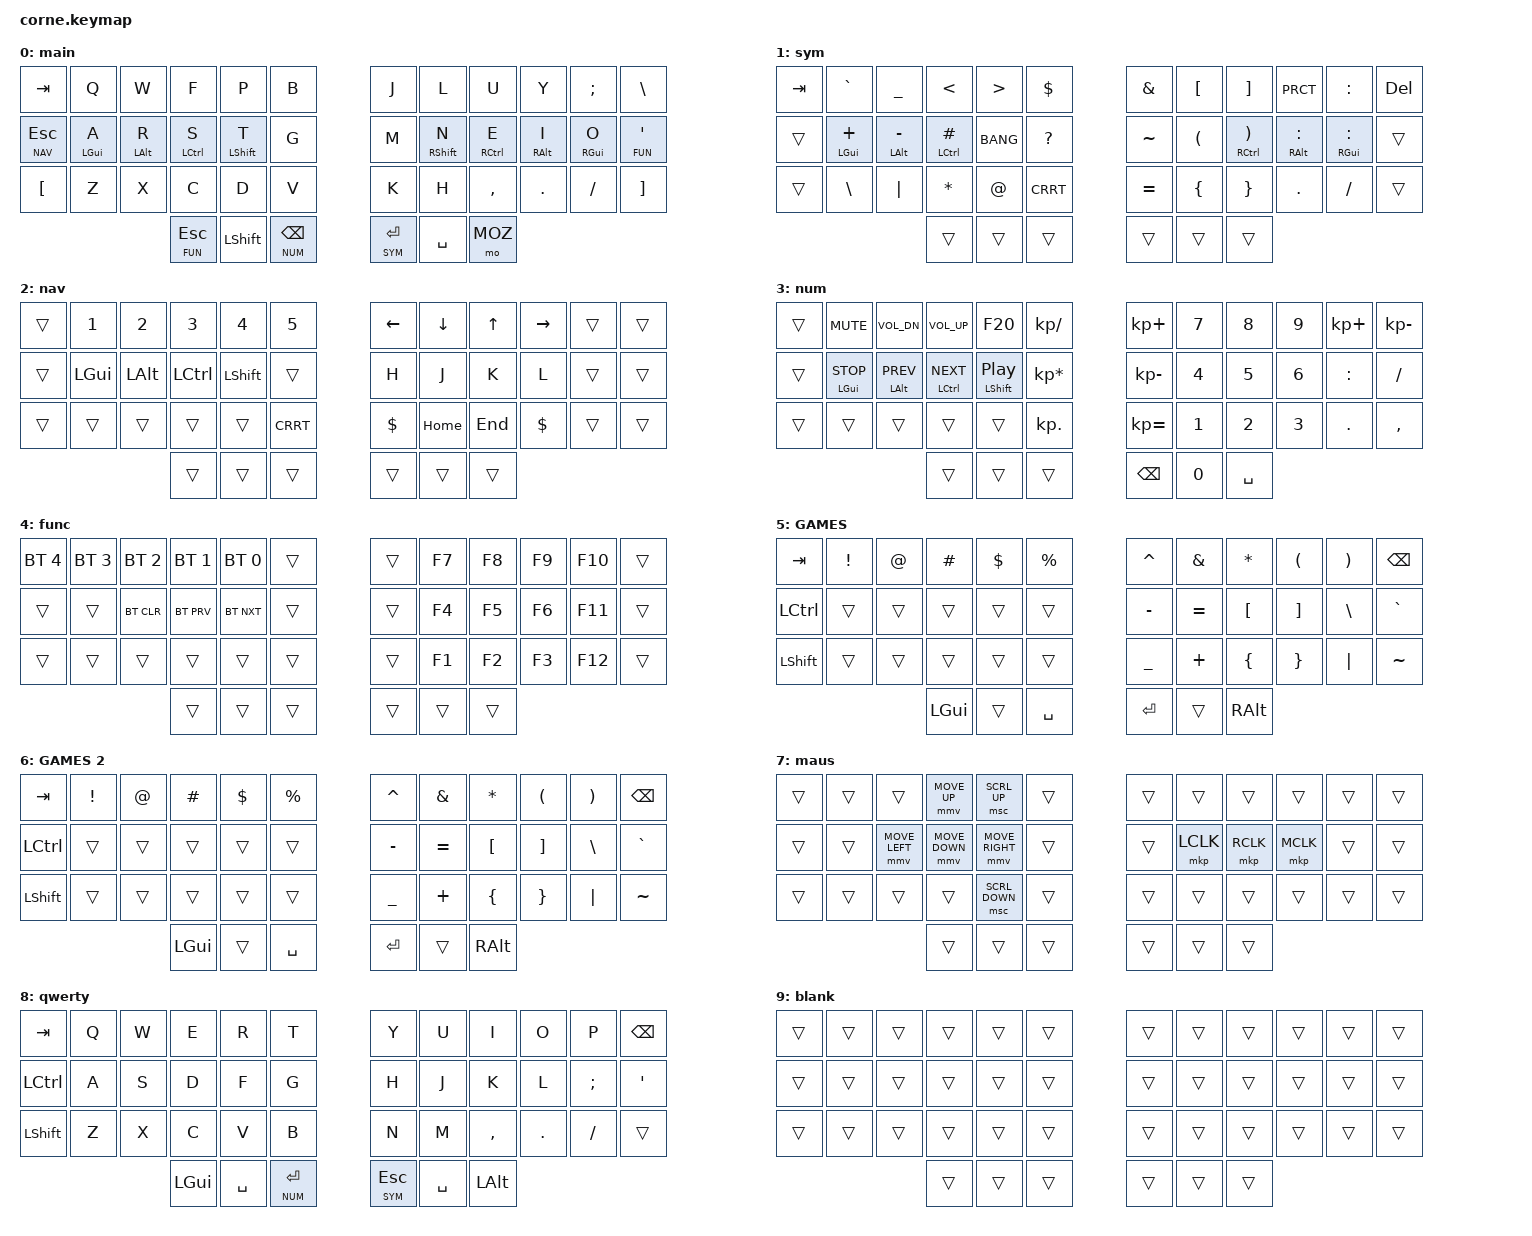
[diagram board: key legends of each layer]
/*
 * Copyright (c) 2020 The ZMK Contributors
 *
 * SPDX-License-Identifier: MIT
 */

// key codes from
// https://github.com/zmkfirmware/zmk/blob/main/app/include/dt-bindings/zmk/keys.h

#include <behaviors.dtsi>
#include <dt-bindings/zmk/keys.h>
#include <dt-bindings/zmk/bt.h>

#include "zmk-helpers/helper.h"
#include "zmk-helpers/key-labels/42.h"                                                  // Source key-labels.
#define KEYS_L LT0 LT1 LT2 LT3 LT4 LT5 LM0 LM1 LM2 LM3 LM4 LM5 LB0 LB1 LB2 LB3 LB4 LB5  // Left-hand keys.
#define KEYS_R RT0 RT1 RT2 RT3 RT4 RT5 RM0 RM1 RM2 RM3 RM4 RM5 RB0 RB1 RB2 RB3 RB4 RB5  // Right-hand keys.
#define THUMBS LH2 LH1 LH0 RH0 RH1 RH2                                                  // Thumb keys.

// These override the MAX velocities
#define ZMK_POINTING_DEFAULT_MOVE_VAL 1500 // default: 600
#define ZMK_POINTING_DEFAULT_SCRL_VAL 20 // default: 10

#include <dt-bindings/zmk/pointing.h>

#define MAIN    0
#define SYM     1
#define NAV     2
#define NUM     3
#define FUN     4
#define GM1     5
#define GM2     6
#define MOZ     7
#define QWRT    8

/ {

    behaviors {
        // from https://zmk.dev/docs/keymaps/behaviors/hold-tap#option-2-tap-preferred
        hm: homerow_mods {
            compatible = "zmk,behavior-hold-tap";
            #binding-cells = <2>;
            tapping-term-ms = <150>;
            quick-tap-ms = <0>;
            flavor = "tap-preferred";
            bindings = <&kp>, <&kp>;
        };

         bhm: balanced_homerow_mods {
            compatible = "zmk,behavior-hold-tap";
            #binding-cells = <2>;
            tapping-term-ms = <180>;    // <---[[moderate duration]]
            flavor = "balanced";
            bindings = <&kp>, <&kp>;
        };   

        // timeless homerow mods
        // https://v0-3-branch.zmk.dev/docs/keymaps/behaviors/hold-tap?examples=home_row_mods
        // https://github.com/urob/zmk-config#timeless-homerow-mods
        // home row mod to use on the left hand
        hml: home_row_mod_left {
            compatible = "zmk,behavior-hold-tap";
            #binding-cells = <2>;
            flavor = "balanced";
            require-prior-idle-ms = <150>;
            tapping-term-ms = <280>;
            quick-tap-ms = <175>;
            bindings = <&kp>, <&kp>;
            hold-trigger-key-positions = < KEYS_R THUMBS >; // List of keys on the right side of the keyboard
            hold-trigger-on-release;
        };

        // home row mod to use on the right hand
        hmr: home_row_mod_right {
            compatible = "zmk,behavior-hold-tap";
            #binding-cells = <2>;
            flavor = "balanced";
            require-prior-idle-ms = <150>;
            tapping-term-ms = <280>;
            quick-tap-ms = <175>;
            bindings = <&kp>, <&kp>;
            hold-trigger-key-positions = < KEYS_L THUMBS >; // List of keys on the left side of the keyboard
            hold-trigger-on-release;
        };
    };

    keymap {
        compatible = "zmk,keymap";

        default_layer {
// -----------------------------------------------------------------------------------------
//                       |  ESC |  Q  |  W  |  F  |  P  |  B  |   |  J  |  L   |  U  |  Y  |  ;  |  \   |
//  | NAV / TAB |  LGUI/A  |  LALT/R  |  LCTL/S  |  LSHIFT/T  |  G  |   |  M  |  RHSIFT/N   |  RCTL/E  | RALT/I  |  RGUI/O  |  '   |
//                  | CAPS WORD |  Z  |  X  |  C  |  D  |  V  |   |  K  |  H   |  ,  |  .  |  /  | GM1  |
//                              | FUN/ESC | LSHIFT | SYM/BSPC |   | SYM/ENT | SPACE  | MOUSE |
        display-name = "main";
        bindings = <
   &kp TAB     &kp Q          &kp W        &kp F        &kp P                &kp B      &kp J &kp L                 &kp U                &kp Y              &kp SEMICOLON          &kp BSLH
   &lt NAV ESC &hml LGUI A    &hml LALT R  &hml LCTL S  &hml LSHIFT T        &kp G      &kp M &hmr RSHIFT N         &hmr RCTL E          &hmr RALT I        &hmr RGUI O            &lt FUN SQT
   &kp LBKT    &kp Z          &kp X        &kp C        &kp D                &kp V      &kp K &kp H                 &kp COMMA            &kp DOT            &kp FSLH               &kp RBKT //&tog QWRT
                                  &lt FUN ESC &kp LSHIFT &lt NUM BSPC   &lt SYM RET &kp SPC &mo MOZ
            >;
        };

        symbol_layer {
// -----------------------------------------------------------------------------------------
// |  TAB |  1  |  2  |  3  |  4  |  5  |   |  6  |  7  |  8  |  9  |  0  | BSPC |
// | BTCLR| BT1 | BT2 | BT3 | BT4 | BT5 |   | LFT | DWN |  UP | RGT |     |      |
// | SHFT |     |     |     |     |     |   |     |     |     |     |     |      |
//                    | GUI |     | SPC |   | ENT |     | ALT |
            display-name = "sym";
            bindings = <
   &kp TAB    &kp GRAVE        &kp UNDER        &kp LT         &kp GT       &kp DOLLAR         &kp AMPS  &kp LBKT   &kp RBKT       &kp PRCT         &kp COLN          &kp DEL
   &trans     &bhm LGUI PLUS   &bhm LALT MINUS  &bhm LCTL HASH &kp BANG     &kp QMARK          &kp TILDE &kp LPAR   &bhm RCTL RPAR &bhm RALT COLN   &bhm RGUI COLN    &trans
   &trans     &kp BSLH         &kp PIPE         &kp STAR       &kp AT       &kp CRRT           &kp EQL   &kp LBRC   &kp RBRC       &kp DOT          &kp SLASH         &trans
                                                                        &trans &trans &trans &trans &trans &trans
                >;
            };

        nav_layer {
// -----------------------------------------------------------------------------------------
// |  TAB |  !  |  @  |  #  |  $  |  %  |   |  ^  |  &  |  *  |  (  |  )  | BSPC |
// | CTRL |     |     |     |     |     |   |  -  |  =  |  [  |  ]  |  \  |  `   |
// | SHFT |     |     |     |     |     |   |  _  |  +  |  {  |  }  | "|" |  ~   |
//                    | GUI |     | SPC |   | ENT |     | ALT |
            display-name = "nav";
            bindings = <
    &trans &kp N1   &kp N2   &kp N3   &kp N4      &kp N5      &kp LEFT &kp DOWN &kp UP &kp RIGHT &trans &trans
    &trans &kp LGUI &kp LALT &kp LCTL &kp LSHIFT  &trans      &kp H    &kp J    &kp K  &kp L     &trans &trans
    &trans &trans   &trans   &trans   &trans      &kp CRRT    &kp DLLR &kp HOME &kp END &kp DLLR &trans &trans
                                &trans &trans     &trans      &trans   &trans  &trans 
                >;
            };
                
        num_layer {
// -----------------------------------------------------------------------------------------
// |  TAB |  !  |  @  |  #  |  $  |  %  |   |  ^  |  &  |  *  |  (  |  )  | BSPC |
// | CTRL |     |     |     |     |     |   |  -  |  =  |  [  |  ]  |  \  |  `   |
// | SHFT |     |     |     |     |     |   |  _  |  +  |  {  |  }  | "|" |  ~   |
//                    | GUI |     | SPC |   | ENT |     | ALT |
            display-name = "num";
            bindings = <
    &trans &kp C_MUTE       &kp C_VOL_DN     &kp C_VOL_UP     &kp F20          &kp KP_SLASH      &kp KP_PLUS  &kp N7 &kp N8 &kp N9 &kp KP_PLUS &kp KP_MINUS
    &trans &bhm LGUI C_STOP &bhm LALT C_PREV &bhm LCTL C_NEXT &bhm LSHIFT C_PP &kp KP_MULTIPLY   &kp KP_MINUS &kp N4 &kp N5 &kp N6 &kp COLN    &kp FSLH
    &trans &trans           &trans           &trans           &trans           &kp KP_DOT        &kp KP_EQUAL &kp N1 &kp N2 &kp N3 &kp DOT     &kp COMMA
                                                                         &trans &trans &trans   &kp BSPC &kp N0 &kp SPC
            >;
        };
                
        function_layer {
// -----------------------------------------------------------------------------------------
// |  TAB |  !  |  @  |  #  |  $  |  %  |   |  ^  |  &  |  *  |  (  |  )  | BSPC |
// | CTRL |     |     |     |     |     |   |  -  |  =  |  [  |  ]  |  \  |  `   |
// | SHFT |     |     |     |     |     |   |  _  |  +  |  {  |  }  | "|" |  ~   |
//                    | GUI |     | SPC |   | ENT |     | ALT |
            display-name = "func";
            bindings = <
    &bt BT_SEL 4 &bt BT_SEL 3 &bt BT_SEL 2 &bt BT_SEL 1 &bt BT_SEL 0 &trans   &trans &kp F7 &kp F8 &kp F9 &kp F10 &trans
    &trans &trans &bt BT_CLR &bt BT_PRV &bt BT_NXT &trans   &trans &kp F4 &kp F5 &kp F6 &kp F11 &trans
    &trans &trans &trans &trans &trans &trans   &trans &kp F1 &kp F2 &kp F3 &kp F12 &trans
                         &trans &trans &trans   &trans &trans &trans 
            >;
        };

        gaming_layer_one {
// -----------------------------------------------------------------------------------------
// |  TAB |  !  |  @  |  #  |  $  |  %  |   |  ^  |  &  |  *  |  (  |  )  | BSPC |
// | CTRL |     |     |     |     |     |   |  -  |  =  |  [  |  ]  |  \  |  `   |
// | SHFT |     |     |     |     |     |   |  _  |  +  |  {  |  }  | "|" |  ~   |
//                    | GUI |     | SPC |   | ENT |     | ALT |
            display-name = "GAMES";
            bindings = <
   &kp  TAB  &kp EXCL &kp AT &kp HASH &kp DLLR &kp PRCNT   &kp CARET &kp AMPS  &kp ASTRK &kp LPAR &kp RPAR &kp BSPC
   &kp LCTRL &trans   &trans &trans   &trans   &trans      &kp MINUS &kp EQUAL &kp LBKT  &kp RBKT &kp BSLH &kp GRAVE
   &kp LSHFT &trans   &trans &trans   &trans   &trans      &kp UNDER &kp PLUS  &kp LBRC  &kp RBRC &kp PIPE &kp TILDE
                             &kp LGUI &trans   &kp SPACE   &kp RET   &trans    &kp RALT
            >;
        };

        gaming_layer_two {
// -----------------------------------------------------------------------------------------
// |  TAB |  !  |  @  |  #  |  $  |  %  |   |  ^  |  &  |  *  |  (  |  )  | BSPC |
// | CTRL |     |     |     |     |     |   |  -  |  =  |  [  |  ]  |  \  |  `   |
// | SHFT |     |     |     |     |     |   |  _  |  +  |  {  |  }  | "|" |  ~   |
//                    | GUI |     | SPC |   | ENT |     | ALT |
            display-name = "GAMES 2";
            bindings = <
   &kp  TAB  &kp EXCL &kp AT &kp HASH &kp DLLR &kp PRCNT   &kp CARET &kp AMPS  &kp ASTRK &kp LPAR &kp RPAR &kp BSPC
   &kp LCTRL &trans   &trans &trans   &trans   &trans      &kp MINUS &kp EQUAL &kp LBKT  &kp RBKT &kp BSLH &kp GRAVE
   &kp LSHFT &trans   &trans &trans   &trans   &trans      &kp UNDER &kp PLUS  &kp LBRC  &kp RBRC &kp PIPE &kp TILDE
                             &kp LGUI &trans   &kp SPACE   &kp RET   &trans    &kp RALT
            >;
        };

        mouse_layer {
// -----------------------------------------------------------------------------------------
// |  TAB |  !  |  @  |  #  |  $  |  %  |   |  ^  |  &  |  *  |  (  |  )  | BSPC |
// | CTRL |     |     |     |     |     |   |  -  |  =  |  [  |  ]  |  \  |  `   |
// | SHFT |     |     |     |     |     |   |  _  |  +  |  {  |  }  | "|" |  ~   |
//                    | GUI |     | SPC |   | ENT |     | ALT |
            display-name = "maus";
            bindings = <
    &trans &trans &trans         &mmv MOVE_UP   &msc SCRL_UP    &trans   &trans &trans    &trans    &trans    &trans &trans
    &trans &trans &mmv MOVE_LEFT &mmv MOVE_DOWN &mmv MOVE_RIGHT &trans   &trans &mkp LCLK &mkp RCLK &mkp MCLK &trans &trans
    &trans &trans &trans         &trans         &msc SCRL_DOWN  &trans   &trans &trans    &trans    &trans    &trans &trans
                         &trans &trans &trans   &trans &trans &trans 
            >;
        };

        qwerty_layer {
// -----------------------------------------------------------------------------------------
// |  TAB |  Q  |  W  |  E  |  R  |  T  |   |  Y  |  U   |  I  |  O  |  P  | BKSP |
// | CTRL |  A  |  S  |  D  |  F  |  G  |   |  H  |  J   |  K  |  L  |  ;  |  '   |
// | SHFT |  Z  |  X  |  C  |  V  |  B  |   |  N  |  M   |  ,  |  .  |  /  | ESC  |
//                    | GUI | LWR | SPC |   | ENT | RSE  | ALT |
            display-name = "qwerty";
            bindings = <
   &kp TAB   &kp Q &kp W &kp E &kp R &kp T   &kp Y &kp U  &kp I     &kp O   &kp P    &kp BSPC
   &kp LCTRL &kp A &kp S &kp D &kp F &kp G   &kp H &kp J  &kp K     &kp L   &kp SEMI &kp SQT
   &kp LSHFT &kp Z &kp X &kp C &kp V &kp B   &kp N &kp M  &kp COMMA &kp DOT &kp FSLH &trans
                  &kp LGUI &kp SPC &lt NUM RET   &lt SYM ESC &kp SPC &kp LALT

                        >;
                };
        
        blank_layer {
            display-name = "blank";
            bindings = <
    &trans &trans &trans &trans &trans &trans   &trans &trans &trans &trans &trans &trans
    &trans &trans &trans &trans &trans &trans   &trans &trans &trans &trans &trans &trans
    &trans &trans &trans &trans &trans &trans   &trans &trans &trans &trans &trans &trans
                         &trans &trans &trans   &trans &trans &trans 
            >;
        };
    };
};
